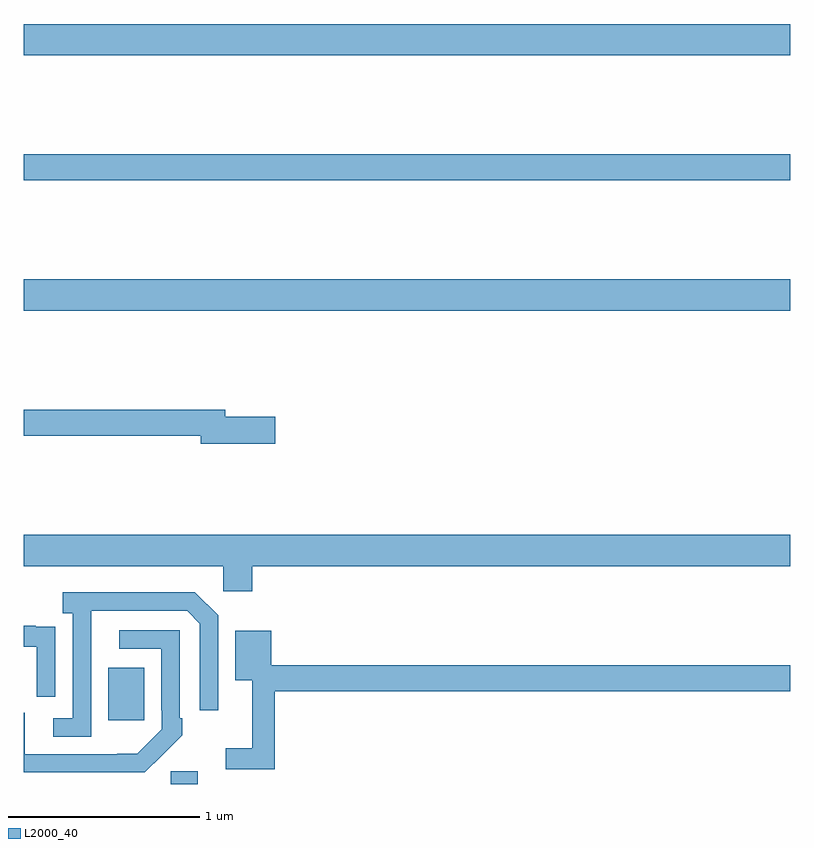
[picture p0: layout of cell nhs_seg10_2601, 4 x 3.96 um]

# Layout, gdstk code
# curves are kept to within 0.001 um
import gdstk
lib = gdstk.Library(unit=1e-6, precision=1e-09)
def R(c, l, rs):  # rectangles x0, y0, x1, y1
    for r in rs: c.add(gdstk.rectangle(r[:2], r[2:], *l))
def P(c, l, *ps):  # polygons
    for p in ps: c.add(gdstk.Polygon(p, *l))
L2000_40 = (2000, 40)

nhs_seg10_2601 = lib.new_cell('nhs_seg10_2601')
R(nhs_seg10_2601, L2000_40, [(251.769,1312.5,251.908,1312.566), (251.441,1312.833,251.629,1313.107), (251,1314.968,255,1315.132), (251,1315.648,255,1315.784), (251,1316.3,255,1316.464)])
P(nhs_seg10_2601, L2000_40, [(252.313,1314.416),(252.052,1314.416),(252.052,1314.452),(251,1314.452),(251,1314.316),(251.924,1314.316),(251.924,1314.274),(252.313,1314.274)],
  [(252.194,1313.636),(255,1313.636),(255,1313.8),(251,1313.8),(251,1313.636),(252.042,1313.636),(252.042,1313.505),(252.194,1313.505)],
  [(251.352,1313.203),(251.353,1313.403),(251.853,1313.403),(251.919,1313.337),(251.919,1312.884),(252.015,1312.884),(252.015,1313.379),(251.894,1313.5),(251.205,1313.5),(251.205,1313.39),(251.256,1313.39),(251.256,1312.842),(251.154,1312.842),(251.154,1312.746),(251.352,1312.746)],
  [(251.166,1313.21),(251.165,1313.21),(251.165,1313.319),(251.063,1313.319),(251.063,1313.326),(251,1313.326),(251,1313.217),(251.07,1313.217),(251.07,1312.956),(251.166,1312.956)],
  [(251.723,1312.651),(251.724,1312.65),(251.829,1312.755),(251.829,1312.843),(251.814,1312.843),(251.814,1313.301),(251.499,1313.301),(251.499,1313.205),(251.718,1313.205),(251.718,1312.885),(251.721,1312.885),(251.721,1312.785),(251.593,1312.657),(251.005,1312.656),(251.005,1312.872),(251,1312.872),(251,1312.56),(251.632,1312.56)],
  [(252.311,1312.984),(255,1312.984),(255,1313.12),(252.291,1313.12),(252.291,1313.299),(252.104,1313.299),(252.104,1313.042),(252.194,1313.042),(252.194,1312.687),(252.054,1312.687),(252.054,1312.578),(252.311,1312.578)])

lib.write_gds('nhs_seg10_2601.gds')
